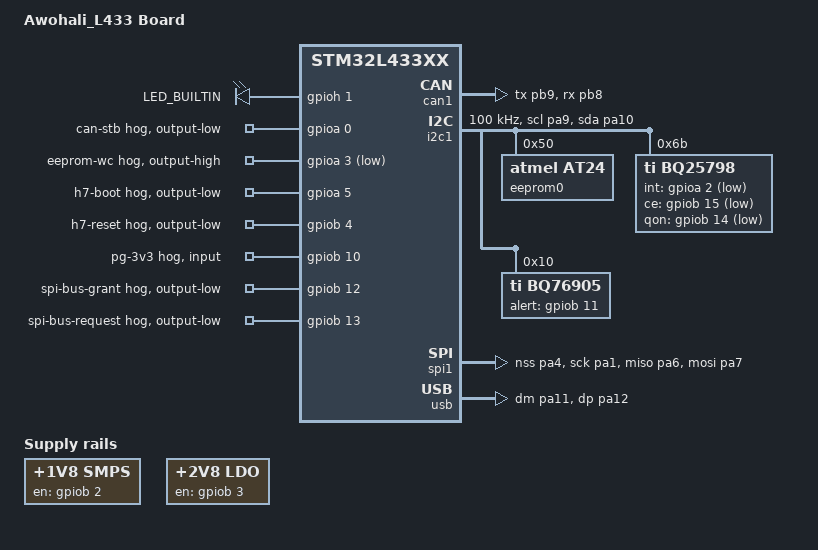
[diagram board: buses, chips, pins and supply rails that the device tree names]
/*
 * Copyright (c) 2026 Madison Gleydura <deepspace00@pm.me>
 *
 * SPDX-License-Identifier: Apache-2.0
 */

/dts-v1/;
#include <st/l4/stm32l433Xc.dtsi>
#include <st/l4/stm32l433rctxp-pinctrl.dtsi>

/ {
	model = "Awohali_L433 Board";
	compatible = "st,stm32l433xx";

	chosen {
		zephyr,console = &cdc_acm_uart0;
		zephyr,shell-uart = &cdc_acm_uart0;
		zephyr,sram = &sram0;
		zephyr,flash = &flash0;
		zephyr,canbus = &can1;
	};

	aliases {
		led0 = &led0;
		can0 = &can1;
		eeprom0 = &eeprom0;
	};

	leds {
		compatible = "gpio-leds";
		status = "okay";
		led0: led_0 {
			gpios = <&gpioh 1 GPIO_ACTIVE_HIGH>;
			label = "LED_BUILTIN";
		};
	};

	reg-1v8 {
		compatible = "regulator-gpio";
		regulator-name = "+1V8 SMPS";
		enable-gpios = <&gpiob 2 GPIO_ACTIVE_HIGH>;
		gpios = <&gpiob 1 GPIO_ACTIVE_HIGH>;
		status = "okay";
	};

	reg-2v8 {
		compatible = "regulator-gpio";
		regulator-name = "+2V8 LDO";
		enable-gpios = <&gpiob 3 GPIO_ACTIVE_HIGH>;
		gpios = <&gpioa 15 GPIO_ACTIVE_HIGH>;
		status = "okay";
	};
};

&can1 {
	pinctrl-0 = <&can1_tx_pb9 &can1_rx_pb8>;
	pinctrl-names = "default";
	status = "okay";

	can-transceiver {
		max-bitrate = <5000000>;
	};
};

&i2c1 {
	pinctrl-0 = <&i2c1_scl_pa9 &i2c1_sda_pa10>;
	pinctrl-names = "default";
	clock-frequency = <100000>;
	status = "okay";

	eeprom0: eeprom_0@50 {
		compatible = "atmel,at24";
		reg = <0x50>;
		size = <DT_SIZE_K(65536)>;
		pagesize = <128>;
		address-width = <16>;
		timeout = <5>;
		status = "okay";
	};

	bq25798@6b {
		compatible = "ti,bq25798";
		reg = <0x6B>;
		cell-count = <2>;
		constant-charge-current-max-microamp = <1000000>;
		constant-charge-voltage-max-microvolt = <7300000>;
		int-gpios = <&gpioa 2 GPIO_ACTIVE_LOW>;
		ce-gpios = <&gpiob 15 GPIO_ACTIVE_LOW>;
		qon-gpios = <&gpiob 14 GPIO_ACTIVE_LOW>;
		status = "okay";
	};

	bq76905@10 {
		compatible = "ti,bq76905";
		reg = <0x10>;
		cell-count = <2>;
		alert-gpios = <&gpiob 11 GPIO_ACTIVE_HIGH>;
		status = "okay";
	};
};

&spi1 {
	pinctrl-0 = <&spi1_nss_pa4 &spi1_sck_pa1 &spi1_miso_pa6 &spi1_mosi_pa7>;
	pinctrl-names = "default";
	status = "okay";
};

&usb {
	pinctrl-0 = <&usb_dm_pa11 &usb_dp_pa12>;
	pinctrl-names = "default";
	status = "okay";

	cdc_acm_uart0: cdc_acm_uart0 {
		compatible = "zephyr,cdc-acm-usart";
		status = "okay";
	};
};

&clk_hsi {
    status = "okay";
};

&pll {
    div-m = <4>;
    mul-n = <32>;
    div-p = <7>;
    div-q = <2>;
    div-r = <2>;
    clocks = <&clk_hsi>;
    status = "okay";
};

&rcc {
    clocks = <&pll>;
    clock-frequency = <DT_FREQ_M(64)>;
    ahb-prescaler = <1>;
    apb1-prescaler = <1>;
    apb2-prescaler = <1>;
};

&gpioa {
	gpio-hog-can-stb {
		gpio-hog;
		gpios = <0 GPIO_ACTIVE_HIGH>;
		output-low;
		line-name = "can-stb";
	};

	gpio-hog-eeprom-wc {
		gpio-hog;
		gpios = <3 (GPIO_PULL_UP | GPIO_ACTIVE_LOW)>;
		output-high;
		line-name = "eeprom-wc";
	};

	gpio-hog-h7-boot {
		gpio-hog;
		gpios = <5 GPIO_ACTIVE_HIGH>;
		output-low;
		line-name = "h7-boot";
	};
};

&gpiob {
	gpio-hog-h7-reset {
		gpio-hog;
		gpios = <4 GPIO_ACTIVE_HIGH>;
		output-low;
		line-name = "h7-reset";
	};

	gpio-hog-pg-3v3 {
		gpio-hog;
		gpios = <10 GPIO_ACTIVE_HIGH>;
		input;
		line-name = "pg-3v3";
	};

	gpio-hog-grant {
		gpio-hog;
		gpios = <12 GPIO_ACTIVE_HIGH>;
		output-low;
		line-name = "spi-bus-grant";
	};
	gpio-hog-request {
		gpio-hog;
		gpios = <13 GPIO_ACTIVE_HIGH>;
		output-low;
		line-name = "spi-bus-request";
	};
};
